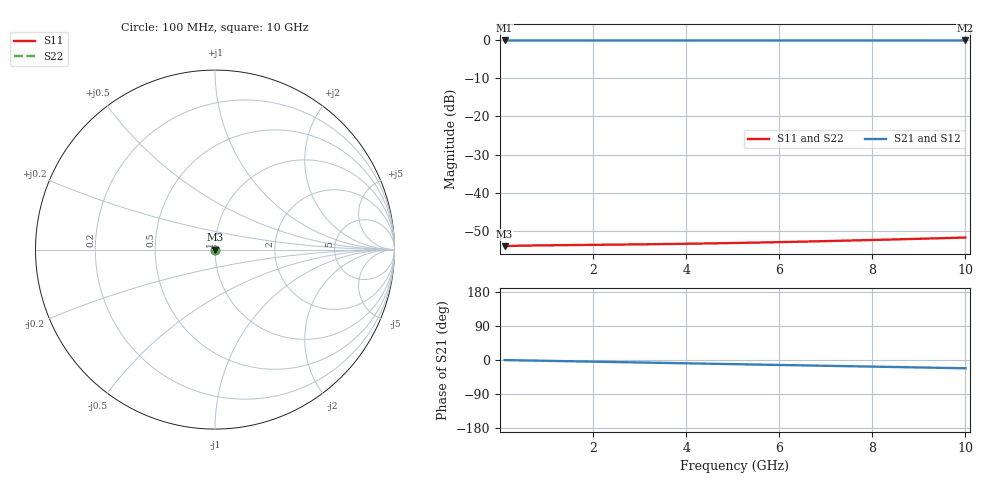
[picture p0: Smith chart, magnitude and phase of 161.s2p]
# Hz S RI R 50.00
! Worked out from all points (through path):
!   100 points, 100 MHz to 10 GHz, reference 50 ohm
!   highest |S21| = -0.02 dB at 100 MHz (marker M1); lowest = 0.0 dB at 10 GHz (marker M2)
!   group delay of S21, straight-line fit = 6.06 ps
!   lowest |S11| = -54.1 dB at 100 MHz (marker M3), VSWR 1.00, Z = 50.2 - j0.00206 ohm
!   |S11| at or under -10 dB: start of sweep to end of sweep
!   |S22| runs from -54.1 to -51.8 dB; largest |S21 - S12| = 0
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1e8  0.00198 -2.06e-05  0.998 -0.00379  0.998 -0.00379  0.00198 -2.06e-05
2e8  0.00199 -4.12e-05  0.998 -0.00758  0.998 -0.00758  0.00199 -4.12e-05
3e8  0.002 -6.2e-05  0.9979 -0.0114  0.9979 -0.0114  0.002 -6.2e-05
4e8  0.002 -8.28e-05  0.9979 -0.0152  0.9979 -0.0152  0.002 -8.28e-05
6e8  0.00201 -0.000125  0.9977 -0.0227  0.9977 -0.0227  0.00201 -0.000125
1e9  0.00202 -0.000209  0.9972 -0.0379  0.9972 -0.0379  0.00202 -0.000209
1.8e9  0.00202 -0.00038  0.9956 -0.0682  0.9956 -0.0682  0.00202 -0.00038
2.6e9  0.002 -0.000554  0.993 -0.0984  0.993 -0.0984  0.002 -0.000554
3.4e9  0.00197 -0.000732  0.9895 -0.1285  0.9895 -0.1285  0.00197 -0.000732
3.9e9  0.00195 -0.000844  0.9869 -0.1473  0.9869 -0.1473  0.00195 -0.000844
4.3e9  0.00193 -0.000935  0.9845 -0.1623  0.9845 -0.1623  0.00193 -0.000935
4.7e9  0.0019 -0.00103  0.9819 -0.1773  0.9819 -0.1773  0.0019 -0.00103
5.1e9  0.00187 -0.00112  0.9791 -0.1922  0.9791 -0.1922  0.00187 -0.00112
5.5e9  0.00184 -0.00121  0.976 -0.2071  0.976 -0.2071  0.00184 -0.00121
5.9e9  0.00181 -0.0013  0.9727 -0.222  0.9727 -0.222  0.00181 -0.0013
6.3e9  0.00177 -0.00139  0.9692 -0.2368  0.9692 -0.2368  0.00177 -0.00139
6.7e9  0.00173 -0.00148  0.9654 -0.2515  0.9654 -0.2515  0.00173 -0.00148
7.5e9  0.00165 -0.00166  0.9573 -0.2809  0.9573 -0.2809  0.00165 -0.00166
7.9e9  0.0016 -0.00175  0.9529 -0.2955  0.9529 -0.2955  0.0016 -0.00175
8.4e9  0.00154 -0.00186  0.947 -0.3136  0.947 -0.3136  0.00154 -0.00186
9.2e9  0.00143 -0.00204  0.937 -0.3425  0.937 -0.3425  0.00143 -0.00204
1e10  0.00132 -0.0022  0.926 -0.371  0.926 -0.371  0.00132 -0.0022
